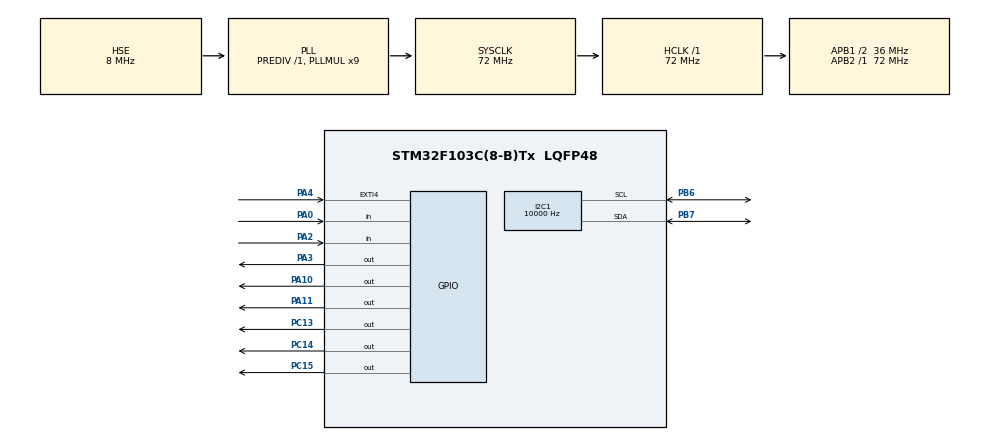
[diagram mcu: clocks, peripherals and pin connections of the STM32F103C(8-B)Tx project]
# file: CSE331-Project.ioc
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I2C1.ClockSpeed=10000
Mcu.Family=STM32F1
Mcu.Name=STM32F103C(8-B)Tx
Mcu.Package=LQFP48
NVIC.EXTI4_IRQn=true\:0\:0\:false\:false\:true\:true\:true\:true
NVIC.PriorityGroup=NVIC_PRIORITYGROUP_4
PA0-WKUP.Signal=GPIO_Input
PA1.Signal=S_TIM2_CH2
PA10.Signal=GPIO_Output
PA11.Signal=GPIO_Output
PA13.Mode=Serial_Wire
PA13.Signal=SYS_JTMS-SWDIO
PA14.Mode=Serial_Wire
PA14.Signal=SYS_JTCK-SWCLK
PA2.Signal=GPIO_Input
PA3.Signal=GPIO_Output
PA4.Signal=GPXTI4
PB6.Mode=I2C
PB6.Signal=I2C1_SCL
PB7.Mode=I2C
PB7.Signal=I2C1_SDA
PC13-TAMPER-RTC.Signal=GPIO_Output
PC14-OSC32_IN.Signal=GPIO_Output
PC15-OSC32_OUT.Signal=GPIO_Output
PD0-OSC_IN.Mode=HSE-External-Oscillator
PD0-OSC_IN.Signal=RCC_OSC_IN
PD1-OSC_OUT.Mode=HSE-External-Oscillator
PD1-OSC_OUT.Signal=RCC_OSC_OUT
ProjectManager.HeapSize=0x200
ProjectManager.StackSize=0x400
ProjectManager.TargetToolchain=MDK-ARM V5.32
RCC.AHBFreq_Value=72000000
RCC.APB1CLKDivider=RCC_HCLK_DIV2
RCC.APB1Freq_Value=36000000
RCC.APB1TimFreq_Value=72000000
RCC.APB2Freq_Value=72000000
RCC.APB2TimFreq_Value=72000000
RCC.HCLKFreq_Value=72000000
RCC.PLLMUL=RCC_PLL_MUL9
RCC.PLLSourceVirtual=RCC_PLLSOURCE_HSE
RCC.SYSCLKFreq_VALUE=72000000
RCC.SYSCLKSource=RCC_SYSCLKSOURCE_PLLCLK
RCC.USBFreq_Value=72000000
SH.S_TIM2_CH2.0=TIM2_CH2
TIM1.Prescaler=71
TIM2.Period=9999
TIM2.Prescaler=143
VP_TIM1_VS_ClockSourceINT.Mode=Internal
VP_TIM2_VS_ClockSourceINT.Mode=Internal
board=custom

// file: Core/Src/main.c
/* USER CODE BEGIN Header */
/**
  ******************************************************************************
  * @file           : main.c
  * @brief          : Main program body
  ******************************************************************************
  * @attention
  *
  * Copyright (c) 2025 STMicroelectronics.
  * All rights reserved.
  *
  * This software is licensed under terms that can be found in the LICENSE file
  * in the root directory of this software component.
  * If no LICENSE file comes with this software, it is provided AS-IS.
  *
  ******************************************************************************
  */
/* USER CODE END Header */
#include "main.h"

/* USER CODE BEGIN Includes */

#include "stdio.h"
#include "string.h"
#include "stdlib.h" // Required for abs() function
#include "ssd1306.h"

/* USER CODE END Includes */

I2C_HandleTypeDef hi2c1;

TIM_HandleTypeDef htim1;
TIM_HandleTypeDef htim2;

/* USER CODE BEGIN PV */

// DHT11 variables
#define DHT11_PORT GPIOA
#define DHT11_PIN GPIO_PIN_0
uint8_t RHI, RHD, TCI, TCD, SUM;
float temperature = 0.0;
float humidity = 0.0;

// HC-SR04 variables
#define TRIG_PORT GPIOA
#define TRIG_PIN GPIO_PIN_3
#define ECHO_PORT GPIOA
#define ECHO_PIN GPIO_PIN_2
uint32_t pMillis;
uint32_t val1 = 0;
uint32_t val2 = 0;
uint16_t distance = 0;
uint16_t previous_distance = 0; // For movement detection

// PIR Sensor Pin
#define PIR_PORT GPIOA
#define PIR_PIN GPIO_PIN_4
uint8_t occupancy = 0;

// OLED display buffer
char oled_buf[24];
char comfort_level[10]; // To store comfort level string

/* USER CODE END PV */

void SystemClock_Config(void);
static void MX_GPIO_Init(void);
static void MX_I2C1_Init(void);
static void MX_TIM1_Init(void);
static void MX_TIM2_Init(void);

/* USER CODE BEGIN 0 */

void microDelay(uint16_t delay) {
    __HAL_TIM_SET_COUNTER(&htim1, 0);
    while (__HAL_TIM_GET_COUNTER(&htim1) < delay);
}

// THIS FUNCTION HAD THE 'ef' TYPO. IT IS NOW CORRECTED.
void Set_Pin_Output(GPIO_TypeDef *GPIOx, uint16_t GPIO_Pin) {
    GPIO_InitTypeDef GPIO_InitStruct = {0};
    GPIO_InitStruct.Pin = GPIO_Pin;
    GPIO_InitStruct.Mode = GPIO_MODE_OUTPUT_PP;
    GPIO_InitStruct.Speed = GPIO_SPEED_FREQ_LOW;
    HAL_GPIO_Init(GPIOx, &GPIO_InitStruct);
}

void Set_Pin_Input(GPIO_TypeDef *GPIOx, uint16_t GPIO_Pin) {
    GPIO_InitTypeDef GPIO_InitStruct = {0};
    GPIO_InitStruct.Pin = GPIO_Pin;
    GPIO_InitStruct.Mode = GPIO_MODE_INPUT;
    GPIO_InitStruct.Pull = GPIO_NOPULL;
    HAL_GPIO_Init(GPIOx, &GPIO_InitStruct);
}

uint8_t DHT11_Start(void) {
    uint8_t Response = 0;
    Set_Pin_Output(DHT11_PORT, DHT11_PIN);
    HAL_GPIO_WritePin(DHT11_PORT, DHT11_PIN, 0);
    HAL_Delay(20);
    HAL_GPIO_WritePin(DHT11_PORT, DHT11_PIN, 1);
    microDelay(30);
    Set_Pin_Input(DHT11_PORT, DHT11_PIN);
    microDelay(40);
    if (!(HAL_GPIO_ReadPin(DHT11_PORT, DHT11_PIN))) {
        microDelay(80);
        if ((HAL_GPIO_ReadPin(DHT11_PORT, DHT11_PIN))) Response = 1;
    }
    pMillis = HAL_GetTick();
    while ((HAL_GPIO_ReadPin(DHT11_PORT, DHT11_PIN)) && pMillis + 2 > HAL_GetTick());
    return Response;
}

uint8_t DHT11_Read(void) {
    // BUG FIX: Initialize 'i' to 0. Without this, the function returns garbage data.
    uint8_t i = 0, j;
    for (j = 0; j < 8; j++) {
        pMillis = HAL_GetTick();
        while (!(HAL_GPIO_ReadPin(DHT11_PORT, DHT11_PIN)) && pMillis + 2 > HAL_GetTick());
        microDelay(40);
        if (!(HAL_GPIO_ReadPin(DHT11_PORT, DHT11_PIN))) i &= ~(1 << (7 - j));
        else i |= (1 << (7 - j));
        pMillis = HAL_GetTick();
        while ((HAL_GPIO_ReadPin(DHT11_PORT, DHT11_PIN)) && pMillis + 2 > HAL_GetTick());
    }
    return i;
}

/* USER CODE END 0 */

int main(void)
{

  /* MCU Configuration--------------------------------------------------------*/

  /* Reset of all peripherals, Initializes the Flash interface and the Systick. */
  HAL_Init();

  /* Configure the system clock */
  SystemClock_Config();

  /* Initialize all configured peripherals */
  MX_GPIO_Init();
  MX_I2C1_Init();
  MX_TIM1_Init();
  MX_TIM2_Init();
  /* USER CODE BEGIN 2 */

	// --- OLED STABILITY FIX ---
  // A small delay to allow the OLED screen to fully power on before I2C communication begins.
  HAL_Delay(100);

  // Force a re-initialization of the I2C peripheral. This can fix hangs if the bus is in a bad state.
  HAL_I2C_DeInit(&hi2c1);
  HAL_I2C_Init(&hi2c1);
  HAL_Delay(100);
  // --- END OF FIX ---

  // Initialize OLED
  SSD1306_Init();

  // Start Timers
  HAL_TIM_Base_Start(&htim1); // For microsecond delay
  HAL_TIM_PWM_Start(&htim2, TIM_CHANNEL_1); // For Servo Motor

  // Set initial servo position to closed (0 degrees)
  __HAL_TIM_SET_COMPARE(&htim2, TIM_CHANNEL_1, 250);

  // Initial pin state for HC-SR04
  HAL_GPIO_WritePin(TRIG_PORT, TRIG_PIN, GPIO_PIN_RESET);

  /* USER CODE END 2 */

  /* Infinite loop */
  /* USER CODE BEGIN WHILE */

  while (1) {

 // 1. Read all sensors
    occupancy = HAL_GPIO_ReadPin(PIR_PORT, PIR_PIN);

    if (DHT11_Start()) {
        RHI = DHT11_Read(); RHD = DHT11_Read();
        TCI = DHT11_Read(); TCD = DHT11_Read();
        SUM = DHT11_Read();
        if (RHI + RHD + TCI + TCD == SUM) {
            temperature = (float)TCI + (float)(TCD/10.0);
        }
    }

    HAL_GPIO_WritePin(TRIG_PORT, TRIG_PIN, GPIO_PIN_SET);
    microDelay(10);
    HAL_GPIO_WritePin(TRIG_PORT, TRIG_PIN, GPIO_PIN_RESET);
    pMillis = HAL_GetTick();
    while (!(HAL_GPIO_ReadPin(ECHO_PORT, ECHO_PIN)) && pMillis + 10 > HAL_GetTick());
    val1 = __HAL_TIM_GET_COUNTER(&htim1);
    pMillis = HAL_GetTick();
    while ((HAL_GPIO_ReadPin(ECHO_PORT, ECHO_PIN)) && pMillis + 50 > HAL_GetTick());
    val2 = __HAL_TIM_GET_COUNTER(&htim1);
    distance = (val2 - val1) * 0.034 / 2;

    // 2. Evaluate comfort and set original LED state
    if (temperature <= 27.0 && occupancy) {
        strcpy(comfort_level, "High");
        HAL_GPIO_WritePin(GPIOC, GPIO_PIN_13, GPIO_PIN_SET);
        HAL_GPIO_WritePin(GPIOC, GPIO_PIN_14, GPIO_PIN_RESET);
        HAL_GPIO_WritePin(GPIOC, GPIO_PIN_15, GPIO_PIN_RESET);
    } else if (temperature > 27.0 && temperature <= 32.0) {
        strcpy(comfort_level, "Medium");
        HAL_GPIO_WritePin(GPIOC, GPIO_PIN_13, GPIO_PIN_RESET);
        HAL_GPIO_WritePin(GPIOC, GPIO_PIN_14, GPIO_PIN_SET);
        HAL_GPIO_WritePin(GPIOC, GPIO_PIN_15, GPIO_PIN_RESET);
    } else {
        strcpy(comfort_level, "Low");
        HAL_GPIO_WritePin(GPIOC, GPIO_PIN_13, GPIO_PIN_RESET);
        HAL_GPIO_WritePin(GPIOC, GPIO_PIN_14, GPIO_PIN_RESET);
        HAL_GPIO_WritePin(GPIOC, GPIO_PIN_15, GPIO_PIN_SET);
    }

    // --- MODIFIED SERVO LOGIC FOR EASIER TESTING ---
    // 3. Control Servo
    // The servo will now activate (open) when comfort is HIGH (temp <= 27.0) and someone is in the room.
    if (temperature <= 27.0) {
        __HAL_TIM_SET_COMPARE(&htim2, TIM_CHANNEL_1, 750); // Open servo
    } else {
        __HAL_TIM_SET_COMPARE(&htim2, TIM_CHANNEL_1, 250); // Close servo
    }
    // --- END OF MODIFICATION ---

    // 4. OLED code (kept in place)
		SSD1306_Clear();
    sprintf(oled_buf, "Temp: %.1f C", temperature);
    SSD1306_GotoXY(0, 0);
    SSD1306_Puts(oled_buf, &Font_7x10, 1);
    sprintf(oled_buf, "Comfort: %s", comfort_level);
    SSD1306_GotoXY(0, 12);
    SSD1306_Puts(oled_buf, &Font_7x10, 1);
    sprintf(oled_buf, "Presence: %s", occupancy ? "Yes" : "No");
    SSD1306_GotoXY(0, 24);
    SSD1306_Puts(oled_buf, &Font_7x10, 1);
    if (abs(distance - previous_distance) > 3 && distance < 200) {
        sprintf(oled_buf, "Movement: Yes");
    } else {
        sprintf(oled_buf, "Movement: No");
    }
    SSD1306_GotoXY(0, 36);
    SSD1306_Puts(oled_buf, &Font_7x10, 1);
    HAL_Delay(1);
    SSD1306_UpdateScreen();

    // 5. Control the Red LED for PIR presence detection
    if (occupancy) {
      HAL_GPIO_WritePin(GPIOA, GPIO_PIN_10, GPIO_PIN_SET);
    } else {
      HAL_GPIO_WritePin(GPIOA, GPIO_PIN_10, GPIO_PIN_RESET);
    }

    // 6. Control the Green LED for Ultrasonic distance
    if (distance < 15) {
      HAL_GPIO_TogglePin(GPIOA, GPIO_PIN_11);
			//HAL_Delay(100); // Wait for 50 milliseconds
      //HAL_GPIO_WritePin(GPIOA, GPIO_PIN_11, GPIO_PIN_RESET);  // Turn OFF
    } else {
      HAL_GPIO_WritePin(GPIOA, GPIO_PIN_11, GPIO_PIN_RESET);
    }

    previous_distance = distance;

    HAL_Delay(100);

    /* USER CODE END WHILE */

  }
}

void SystemClock_Config(void)
{
  RCC_OscInitTypeDef RCC_OscInitStruct = {0};
  RCC_ClkInitTypeDef RCC_ClkInitStruct = {0};

  /** Initializes the RCC Oscillators according to the specified parameters
  * in the RCC_OscInitTypeDef structure.
  */
  RCC_OscInitStruct.OscillatorType = RCC_OSCILLATORTYPE_HSE;
  RCC_OscInitStruct.HSEState = RCC_HSE_ON;
  RCC_OscInitStruct.HSEPredivValue = RCC_HSE_PREDIV_DIV1;
  RCC_OscInitStruct.HSIState = RCC_HSI_ON;
  RCC_OscInitStruct.PLL.PLLState = RCC_PLL_ON;
  RCC_OscInitStruct.PLL.PLLSource = RCC_PLLSOURCE_HSE;
  RCC_OscInitStruct.PLL.PLLMUL = RCC_PLL_MUL9;
  if (HAL_RCC_OscConfig(&RCC_OscInitStruct) != HAL_OK)
  {
    Error_Handler();
  }

  /** Initializes the CPU, AHB and APB buses clocks
  */
  RCC_ClkInitStruct.ClockType = RCC_CLOCKTYPE_HCLK|RCC_CLOCKTYPE_SYSCLK
                              |RCC_CLOCKTYPE_PCLK1|RCC_CLOCKTYPE_PCLK2;
  RCC_ClkInitStruct.SYSCLKSource = RCC_SYSCLKSOURCE_PLLCLK;
  RCC_ClkInitStruct.AHBCLKDivider = RCC_SYSCLK_DIV1;
  RCC_ClkInitStruct.APB1CLKDivider = RCC_HCLK_DIV2;
  RCC_ClkInitStruct.APB2CLKDivider = RCC_HCLK_DIV1;

  if (HAL_RCC_ClockConfig(&RCC_ClkInitStruct, FLASH_LATENCY_2) != HAL_OK)
  {
    Error_Handler();
  }
}

static void MX_I2C1_Init(void)
{

  hi2c1.Instance = I2C1;
  hi2c1.Init.ClockSpeed = 10000;
  hi2c1.Init.DutyCycle = I2C_DUTYCYCLE_2;
  hi2c1.Init.OwnAddress1 = 0;
  hi2c1.Init.AddressingMode = I2C_ADDRESSINGMODE_7BIT;
  hi2c1.Init.DualAddressMode = I2C_DUALADDRESS_DISABLE;
  hi2c1.Init.OwnAddress2 = 0;
  hi2c1.Init.GeneralCallMode = I2C_GENERALCALL_DISABLE;
  hi2c1.Init.NoStretchMode = I2C_NOSTRETCH_DISABLE;
  if (HAL_I2C_Init(&hi2c1) != HAL_OK)
  {
    Error_Handler();
  }

}

static void MX_TIM1_Init(void)
{

  TIM_ClockConfigTypeDef sClockSourceConfig = {0};
  TIM_MasterConfigTypeDef sMasterConfig = {0};

  htim1.Instance = TIM1;
  htim1.Init.Prescaler = 71;
  htim1.Init.CounterMode = TIM_COUNTERMODE_UP;
  htim1.Init.Period = 65535;
  htim1.Init.ClockDivision = TIM_CLOCKDIVISION_DIV1;
  htim1.Init.RepetitionCounter = 0;
  htim1.Init.AutoReloadPreload = TIM_AUTORELOAD_PRELOAD_DISABLE;
  if (HAL_TIM_Base_Init(&htim1) != HAL_OK)
  {
    Error_Handler();
  }
  sClockSourceConfig.ClockSource = TIM_CLOCKSOURCE_INTERNAL;
  if (HAL_TIM_ConfigClockSource(&htim1, &sClockSourceConfig) != HAL_OK)
  {
    Error_Handler();
  }
  sMasterConfig.MasterOutputTrigger = TIM_TRGO_RESET;
  sMasterConfig.MasterSlaveMode = TIM_MASTERSLAVEMODE_DISABLE;
  if (HAL_TIMEx_MasterConfigSynchronization(&htim1, &sMasterConfig) != HAL_OK)
  {
    Error_Handler();
  }

}

static void MX_TIM2_Init(void)
{

  TIM_ClockConfigTypeDef sClockSourceConfig = {0};
  TIM_MasterConfigTypeDef sMasterConfig = {0};

  htim2.Instance = TIM2;
  htim2.Init.Prescaler = 143;
  htim2.Init.CounterMode = TIM_COUNTERMODE_UP;
  htim2.Init.Period = 9999;
  htim2.Init.ClockDivision = TIM_CLOCKDIVISION_DIV1;
  htim2.Init.AutoReloadPreload = TIM_AUTORELOAD_PRELOAD_DISABLE;
  if (HAL_TIM_Base_Init(&htim2) != HAL_OK)
  {
    Error_Handler();
  }
  sClockSourceConfig.ClockSource = TIM_CLOCKSOURCE_INTERNAL;
  if (HAL_TIM_ConfigClockSource(&htim2, &sClockSourceConfig) != HAL_OK)
  {
    Error_Handler();
  }
  sMasterConfig.MasterOutputTrigger = TIM_TRGO_RESET;
  sMasterConfig.MasterSlaveMode = TIM_MASTERSLAVEMODE_DISABLE;
  if (HAL_TIMEx_MasterConfigSynchronization(&htim2, &sMasterConfig) != HAL_OK)
  {
    Error_Handler();
  }

}

static void MX_GPIO_Init(void)
{
  GPIO_InitTypeDef GPIO_InitStruct = {0};

  /* GPIO Ports Clock Enable */
  __HAL_RCC_GPIOC_CLK_ENABLE();
  __HAL_RCC_GPIOD_CLK_ENABLE();
  __HAL_RCC_GPIOA_CLK_ENABLE();
  __HAL_RCC_GPIOB_CLK_ENABLE();

  /*Configure GPIO pin Output Level */
  HAL_GPIO_WritePin(GPIOC, GPIO_PIN_13|GPIO_PIN_14|GPIO_PIN_15, GPIO_PIN_RESET);

  /*Configure GPIO pin Output Level */
  HAL_GPIO_WritePin(GPIOA, GPIO_PIN_3|GPIO_PIN_10|GPIO_PIN_11, GPIO_PIN_RESET);

  /*Configure GPIO pins : PC13 PC14 PC15 */
  GPIO_InitStruct.Pin = GPIO_PIN_13|GPIO_PIN_14|GPIO_PIN_15;
  GPIO_InitStruct.Mode = GPIO_MODE_OUTPUT_PP;
  GPIO_InitStruct.Pull = GPIO_NOPULL;
  GPIO_InitStruct.Speed = GPIO_SPEED_FREQ_LOW;
  HAL_GPIO_Init(GPIOC, &GPIO_InitStruct);

  /*Configure GPIO pins : PA0 PA2 */
  GPIO_InitStruct.Pin = GPIO_PIN_0|GPIO_PIN_2;
  GPIO_InitStruct.Mode = GPIO_MODE_INPUT;
  GPIO_InitStruct.Pull = GPIO_NOPULL;
  HAL_GPIO_Init(GPIOA, &GPIO_InitStruct);

  /*Configure GPIO pins : PA3 PA10 PA11 */
  GPIO_InitStruct.Pin = GPIO_PIN_3|GPIO_PIN_10|GPIO_PIN_11;
  GPIO_InitStruct.Mode = GPIO_MODE_OUTPUT_PP;
  GPIO_InitStruct.Pull = GPIO_NOPULL;
  GPIO_InitStruct.Speed = GPIO_SPEED_FREQ_LOW;
  HAL_GPIO_Init(GPIOA, &GPIO_InitStruct);

  /*Configure GPIO pin : PA4 */
  GPIO_InitStruct.Pin = GPIO_PIN_4;
  GPIO_InitStruct.Mode = GPIO_MODE_IT_RISING;
  GPIO_InitStruct.Pull = GPIO_NOPULL;
  HAL_GPIO_Init(GPIOA, &GPIO_InitStruct);

  /* EXTI interrupt init*/
  HAL_NVIC_SetPriority(EXTI4_IRQn, 0, 0);
  HAL_NVIC_EnableIRQ(EXTI4_IRQn);

}

/* USER CODE BEGIN 4 */

/**
  * @brief  EXTI Line Detection Callback.
  * @param  GPIO_Pin: The Pin that triggered the interrupt.
  * @retval None
  */
void HAL_GPIO_EXTI_Callback(uint16_t GPIO_Pin)
{
  // Check if the interrupt came from our PIR sensor pin (PA4)
  if (GPIO_Pin == PIR_PIN)
  {
    // Update the global occupancy variable.
    // A small delay helps to debounce the sensor signal.
    HAL_Delay(50);
    occupancy = HAL_GPIO_ReadPin(PIR_PORT, PIR_PIN);
  }
}

/* USER CODE END 4 */

void Error_Handler(void)
{
  __disable_irq();
  while (1)
  {
  }
}
